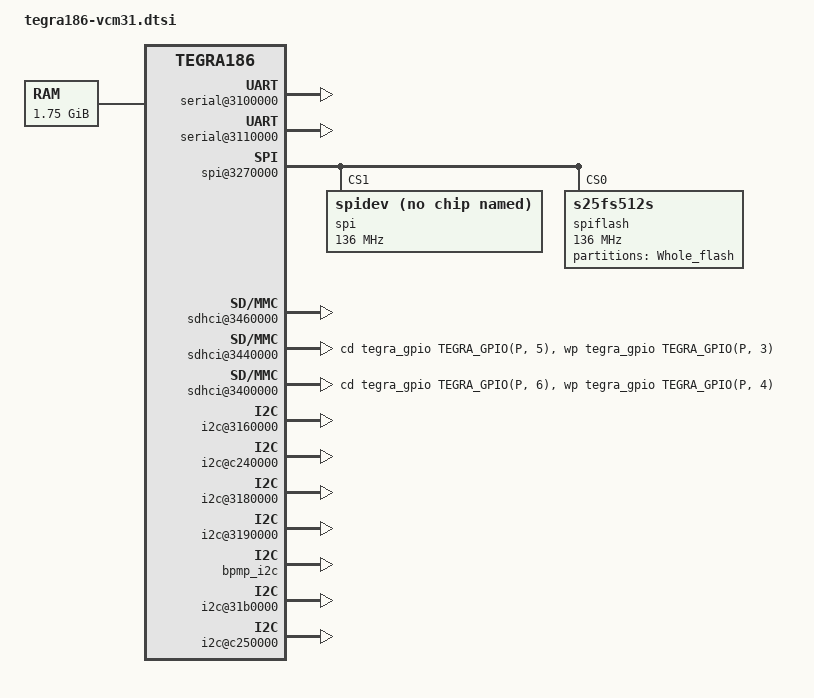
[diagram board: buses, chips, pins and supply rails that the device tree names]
/*
 * tegra186-vcm31.dtsi: VCM3.1 board specific dtsi file for all VCM31 boards.
 *
 * Copyright (c) 2015-2016, NVIDIA CORPORATION.  All rights reserved.
 *
 * This program is free software; you can redistribute it and/or modify
 * it under the terms of the GNU General Public License as published by
 * the Free Software Foundation; version 2 of the License.
 *
 * This program is distributed in the hope that it will be useful, but WITHOUT
 * ANY WARRANTY; without even the implied warranty of MERCHANTABILITY or
 * FITNESS FOR A PARTICULAR PURPOSE.  See the GNU General Public License for
 * more details.
 *
 */

#include "tegra186-soc/tegra186-soc-vcm.dtsi"
#include "tegra186-platforms/tegra186-sunstreaker-eqos.dtsi"
#include "tegra186-platforms/tegra186-vcm31-thermal.dtsi"
#include "tegra186-soc/tegra186-soc-audio.dtsi"
#include "tegra186-platforms/tegra186-platforms-simple-bus.dtsi"
#include "tegra186-platforms/tegra186-vcm31-camera-sce.dtsi"

#include <dt-bindings/sound/tegra-asoc-alt.h>
/ {
	serial@3100000 { /* Tegra UARTA  <-> VCM UART A */
		compatible = "nvidia,tegra186-hsuart";
		status = "okay";
	};

	memory@80000000 {
		device_type = "memory";
		reg = < 0x0 0x80000000 0x0 0x70000000 >;
	};

	serial@3110000 { /* Tegra UARTB <->  VCM UART B: Debug console*/
		compatible = "nvidia,tegra210-uart";
		skip-reconfig;
		status = "okay";
	};

	chosen {
		bootargs ="mem=1024M@2048M console=ttyS0,115200 earlycon=uart8250,mmio32,0x3110000";
		stdout-path = &uartb;
	};

	spi@3210000 {
		status = "disabled";
		spi@0 {
			compatible = "spidev";
			reg = <0>;
			spi-max-frequency = <13000000>;
		};
	};

	spi@c260000 {
		status = "disabled";
		spi@0 {
			compatible = "spidev";
			reg = <0>;
			spi-max-frequency = <13000000>;
		};
	};

	spi@3230000 {
		status = "disabled";
		spi@0 {
			compatible = "spidev";
			reg = <0>;
			spi-max-frequency = <13000000>;
		};
	};

	spi@3240000 {
		status = "disabled";
		spi@0 {
			compatible = "spidev";
			reg = <0>;
			spi-max-frequency = <13000000>;
		};
	};

	spi@3270000 {/* QSPI NOR */
		status = "okay";
		spi@0 {
			compatible = "spidev";
			reg = <1>;
			spi-max-frequency = <136000000>;
			controller-data {
					nvidia,x1-len-limit = <16>;
					nvidia,x1-bus-speed = <136000000>; /* In Mhz */
					nvidia,x1-dymmy-cycle = <0>;
					nvidia,x4-bus-speed = <136000000>;
					nvidia,x4-dymmy-cycle = <8>;
					nvidia,ifddr-div2-sdr = <1>;
					nvidia,x4-is-ddr=<1>;
			};
		};

		spiflash@1 {
			#address-cells = <1>;
			#size-cells = <1>;
			compatible = "s25fs512s";
			reg = <0>;
			spi-max-frequency = <136000000>;
			partition@0 {
				label = "Whole_flash";
				reg = <0x00000000 0x4000000>;
			};
			controller-data {
				nvidia,x1-len-limit = <16>;
				nvidia,x1-bus-speed = <136000000>; /* In Mhz */
				nvidia,x1-dymmy-cycle = <8>;
				nvidia,x4-bus-speed = <136000000>;
				nvidia,x4-dymmy-cycle = <8>;
				nvidia,ifddr-div2-sdr = <1>;
				nvidia,x4-is-ddr=<1>;
			};
		};
	};

	sdhci@3460000 { /* SDMMC_D: Used for eMMC */
		status = "okay";
		uhs-mask = <0x40>;
		nvidia,is-emmc;
		built-in;
		full-pwr-cycle;
		power-off-rail;
	};

	sdhci@3440000 { /* SDMMC_C  sd card 4-bit*/
		status = "okay";
		cd-gpios = <&tegra_gpio TEGRA_GPIO(P, 5) 0>;
		wp-gpios = <&tegra_gpio TEGRA_GPIO(P, 3) 0>;
		mmc-ocr-mask = <3>;
		/delete-property/ non-removable;
		uhs-mask = <0x1F>;
	};

	sdhci@3400000 { /* SDMMC_A  sd card 4-bit*/
		status = "okay";
		cd-gpios = <&tegra_gpio TEGRA_GPIO(P, 6) 0>;
		wp-gpios = <&tegra_gpio TEGRA_GPIO(P, 4) 0>;
		/delete-property/ ignore-pm-notify;
		uhs-mask = <0x1F>;
	};

	/* FIXME: Check which I2C are common across all VCM31 T186 platforms */
	i2c@3160000 { /* Tegra I2C1 - VCM I2CA */
		status = "okay";
	};

	i2c@c240000 { /* Tegra I2C2 - VCM I2CB */
		status = "okay";
	};

	i2c@3180000 { /* Tegra I2C3 - VCM I2CD */
		status = "okay";
	};

	i2c@3190000 { /* Tegra I2C4 - VCM DP_AUX1 */
		status = "okay";
	};

	bpmp_i2c {
		status = "okay";
	};

	i2c@31b0000 { /* Tegra I2C6 - VCM DP_AUX0 */
		status = "okay";
	};

	i2c@31c0000 { /* Tegra I2C7 */
		status = "disabled";
	};

	i2c@c250000 { /* Tegra I2C8 - VCM I2CC */
		status = "okay";
	};

	i2c@31e0000 { /* Tegra I2C9 */
		status = "disabled";
	};

	pmc@c360000 {
		/*export: SCRATCH_99*/
		export-pmc-scratch-reg-offset = <0xadc>;
		export-pmc-scratch-reg-name = "boot-chain-type";
		status = "okay";
	};

	pmc@c370000 {
		nvidia,invert-pmic-interrupt-polarity;
	};

	cpufreq@e070000 {
		freq_table_step_size = /bits/ 16 <1>;
	};

	tegra-hsp@3c00000 {
		status = "okay";
	};

	mipical {
		status = "okay";
	};
};
